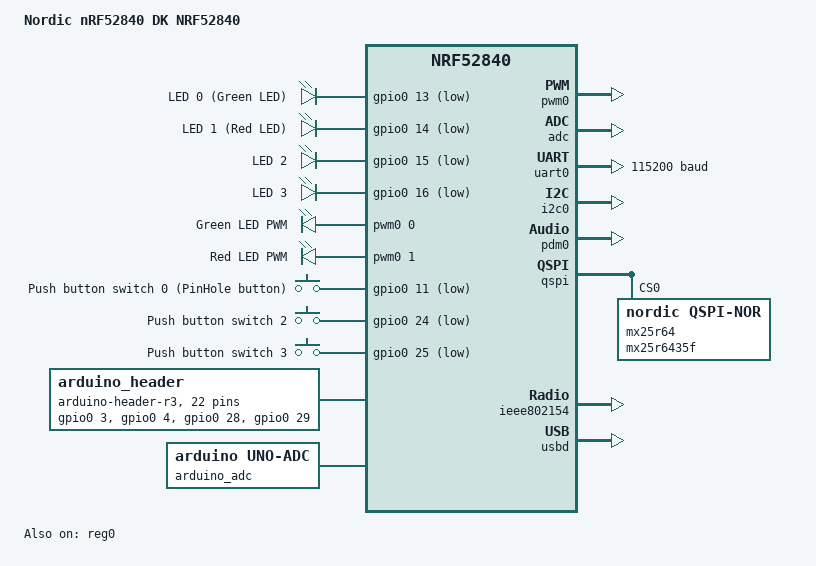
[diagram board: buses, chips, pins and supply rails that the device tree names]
/*
 * Copyright (c) 2017 Linaro Limited
 *
 * SPDX-License-Identifier: Apache-2.0
 */

/dts-v1/;
#include <nordic/nrf52840_qiaa.dtsi>
#include <nordic/nrf52840_partition.dtsi>
#include "nrf52840dk_ruuviair_nrf52840-pinctrl.dtsi"
#include <zephyr/dt-bindings/input/input-event-codes.h>

/ {
	model = "Nordic nRF52840 DK NRF52840";
	compatible = "nordic,nrf52840-dk-nrf52840";

	chosen {
		zephyr,console = &uart0;
		zephyr,shell-uart = &uart0;
		zephyr,uart-mcumgr = &uart0;
		zephyr,bt-mon-uart = &uart0;
		zephyr,bt-c2h-uart = &uart0;
		zephyr,ieee802154 = &ieee802154;
		nordic,pm-ext-flash = &mx25r64;
	};

	leds {
		compatible = "gpio-leds";
		led0: led_0 {
			gpios = <&gpio0 13 GPIO_ACTIVE_LOW>;
			label = "LED 0 (Green LED)";
		};

		led1: led_1 {
			gpios = <&gpio0 14 GPIO_ACTIVE_LOW>;
			label = "LED 1 (Red LED)";
		};

		led2: led_2 {
			gpios = <&gpio0 15 GPIO_ACTIVE_LOW>;
			label = "LED 2";
		};

		led3: led_3 {
			gpios = <&gpio0 16 GPIO_ACTIVE_LOW>;
			label = "LED 3";
		};
	};

	pwmleds {
		compatible = "pwm-leds";
		pwm_led0: pwm_led_0 {
			pwms = <&pwm0 0 PWM_MSEC(20) PWM_POLARITY_INVERTED>;
			label = "Green LED PWM";
		};

		pwm_led1: pwm_led_1 {
			pwms = <&pwm0 1 PWM_MSEC(20) PWM_POLARITY_INVERTED>;
			label = "Red LED PWM";
		};
	};

	buttons {
		compatible = "gpio-keys";
		button0: button_0 {
			gpios = <&gpio0 11 (GPIO_PULL_UP | GPIO_ACTIVE_LOW)>;
			label = "Push button switch 0 (PinHole button)";
			zephyr,code = <INPUT_KEY_0>;
		};

		button2: button_2 {
			gpios = <&gpio0 24 (GPIO_PULL_UP | GPIO_ACTIVE_LOW)>;
			label = "Push button switch 2";
			zephyr,code = <INPUT_KEY_2>;
		};

		button3: button_3 {
			gpios = <&gpio0 25 (GPIO_PULL_UP | GPIO_ACTIVE_LOW)>;
			label = "Push button switch 3";
			zephyr,code = <INPUT_KEY_3>;
		};
	};

	arduino_header: connector {
		compatible = "arduino-header-r3";
		#gpio-cells = <2>;
		gpio-map-mask = <0xffffffff 0xffffffc0>;
		gpio-map-pass-thru = <0 0x3f>;
		gpio-map =
			<0 0 &gpio0 3 0>,    /* A0 */
			<1 0 &gpio0 4 0>,    /* A1 */
			<2 0 &gpio0 28 0>,   /* A2 */
			<3 0 &gpio0 29 0>,   /* A3 */
			<4 0 &gpio0 30 0>,   /* A4 */
			<5 0 &gpio0 31 0>,   /* A5 */
			<6 0 &gpio1 1 0>,    /* D0 - ENABLE_SENSORS*/
			<7 0 &gpio1 2 0>,    /* D1 - RTC_INT */
			<8 0 &gpio1 3 0>,    /* D2 */
			<9 0 &gpio1 4 0>,    /* D3 */
			<10 0 &gpio1 5 0>,   /* D4 - PDM_DIN */
			<11 0 &gpio1 6 0>,   /* D5 - PDM_CLK */
			<12 0 &gpio1 7 0>,   /* D6 */
			<13 0 &gpio1 8 0>,   /* D7 */
			<14 0 &gpio1 10 0>,  /* D8 */
			<15 0 &gpio1 11 0>,  /* D9 */
			<16 0 &gpio1 12 0>,  /* D10 */
			<17 0 &gpio1 13 0>,  /* D11 */
			<18 0 &gpio1 14 0>,  /* D12 */
			<19 0 &gpio1 15 0>,  /* D13 */
			<20 0 &gpio0 26 0>,  /* D14 - SDA */
			<21 0 &gpio0 27 0>;  /* D15 - SCL */
	};

	arduino_adc: analog-connector {
		compatible = "arduino,uno-adc";
		#io-channel-cells = <1>;
		io-channel-map =
			<0 &adc 1>,  /* A0 = P0.3 = AIN1 */
			<1 &adc 2>,  /* A1 = P0.4 = AIN2 */
			<2 &adc 4>,  /* A2 = P0.28 = AIN4 */
			<3 &adc 5>,  /* A3 = P0.29 = AIN5 */
			<4 &adc 6>,  /* A4 = P0.30 = AIN6 */
			<5 &adc 7>;  /* A5 = P0.31 = AIN7 */
	};

	aliases {
		led0 = &led0;
		led1 = &led1;
		led2 = &led2;
		led3 = &led3;
		led-green = &led0;
		led-green-pwm = &pwm_led0;
		led-red = &led1;
		led-red-pwm = &pwm_led1;
		pwm-led0 = &pwm_led0;
		pwm-led1 = &pwm_led1;
		sw0 = &button0;
		sw2 = &button2;
		sw3 = &button3;
		bootloader-led0 = &led0;
		mcuboot-button0 = &button0;
		mcuboot-led0 = &led0;
		watchdog0 = &wdt0;
		button-pinhole = &button0;
	};
};

/delete-node/ &spi0;
/delete-node/ &spi1;
/delete-node/ &spi2;
/delete-node/ &spi3;
/delete-node/ &i2c1;
/delete-node/ &uart1;

&reg0 {
	status = "okay";
};

&reg1 {
	regulator-initial-mode = <NRF5X_REG_MODE_DCDC>;
};

&pwm0 {
	status = "okay";
	pinctrl-0 = <&pwm0_default>;
	pinctrl-1 = <&pwm0_sleep>;
	pinctrl-names = "default", "sleep";
};

&adc {
	status = "okay";
};

&uicr {
	gpio-as-nreset;
};

&gpiote {
	status = "okay";
};

&uart0 {
	compatible = "nordic,nrf-uarte";
	status = "okay";
	current-speed = <115200>;
	pinctrl-0 = <&uart0_default>;
	pinctrl-1 = <&uart0_sleep>;
	pinctrl-names = "default", "sleep";
};

&i2c0 {
	compatible = "nordic,nrf-twi";
	status = "okay";
	pinctrl-0 = <&i2c0_default>;
	pinctrl-1 = <&i2c0_sleep>;
	pinctrl-names = "default", "sleep";
};

dmic_dev: &pdm0 {
	status = "okay";
	pinctrl-0 = <&pdm0_default>;
	pinctrl-1 = <&pdm0_sleep>;
	pinctrl-names = "default", "sleep";
	clock-source = "PCLK32M_HFXO";
};

&qspi {
	status = "okay";
	pinctrl-0 = <&qspi_default>;
	pinctrl-1 = <&qspi_sleep>;
	pinctrl-names = "default", "sleep";
	mx25r64: mx25r6435f@0 {
		compatible = "nordic,qspi-nor";
		reg = <0>;
		/* MX25R64 supports only pp and pp4io */
		writeoc = "pp4io";
		/* MX25R64 supports all readoc options */
		readoc = "read4io";
		sck-frequency = <8000000>;
		jedec-id = [c2 28 17];
		sfdp-bfp = [
			e5 20 f1 ff  ff ff ff 03  44 eb 08 6b  08 3b 04 bb
			ee ff ff ff  ff ff 00 ff  ff ff 00 ff  0c 20 0f 52
			10 d8 00 ff  23 72 f5 00  82 ed 04 cc  44 83 68 44
			30 b0 30 b0  f7 c4 d5 5c  00 be 29 ff  f0 d0 ff ff
		];
		size = <67108864>;
		has-dpd;
		t-enter-dpd = <10000>;
		t-exit-dpd = <35000>;
	};
};


&ieee802154 {
	status = "okay";
};

zephyr_udc0: &usbd {
	compatible = "nordic,nrf-usbd";
	status = "okay";
};
